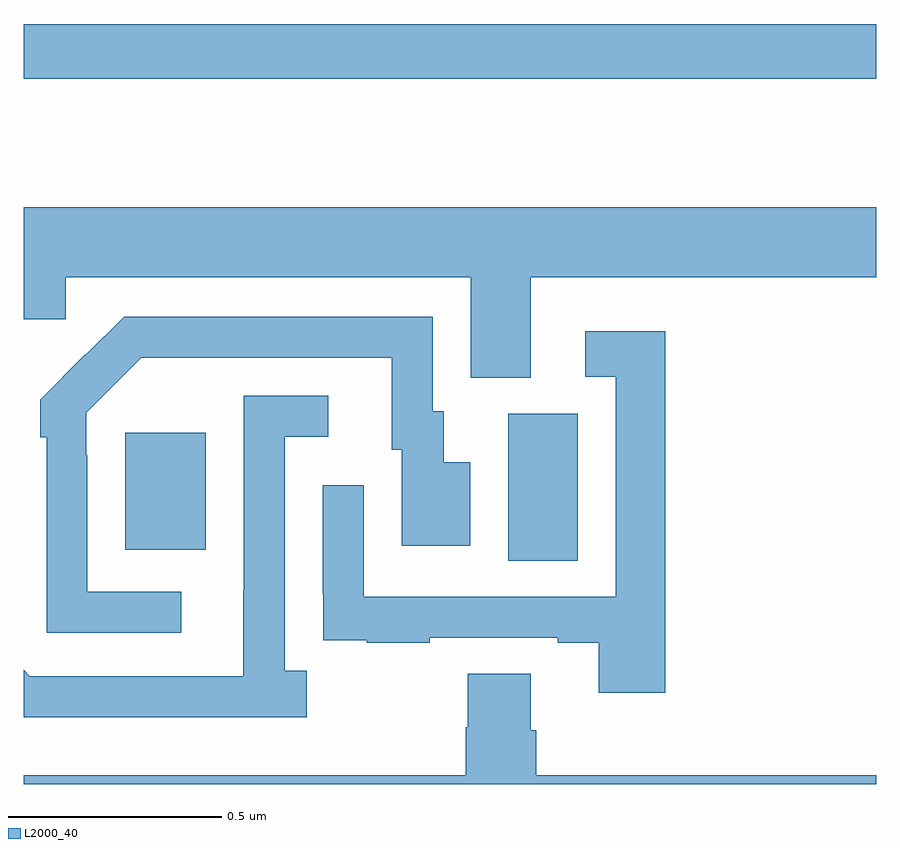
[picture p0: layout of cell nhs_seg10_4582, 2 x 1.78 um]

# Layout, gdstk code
import gdstk
lib = gdstk.Library(unit=1e-6, precision=1e-09)
def R(c, l, rs):  # rectangles x0, y0, x1, y1
    for r in rs: c.add(gdstk.rectangle(r[:2], r[2:], *l))
def P(c, l, *ps):  # polygons
    for p in ps: c.add(gdstk.Polygon(p, *l))
L2000_40 = (2000, 40)

nhs_seg10_4582 = lib.new_cell('nhs_seg10_4582')
R(nhs_seg10_4582, L2000_40, [(169.136,1261.024,169.3,1261.368), (168.239,1261.049,168.427,1261.324), (168,1262.154,170,1262.282)])
P(nhs_seg10_4582, L2000_40, [(169.189,1261.688),(170,1261.688),(170,1261.852),(168,1261.852),(168,1261.59),(168.099,1261.59),(168.099,1261.688),(169.049,1261.688),(169.049,1261.453),(169.189,1261.453)],
  [(168.37,1260.951),(168.15,1260.951),(168.15,1261.271),(168.147,1261.271),(168.147,1261.371),(168.276,1261.5),(168.863,1261.5),(168.863,1261.284),(168.887,1261.284),(168.887,1261.059),(169.048,1261.059),(169.048,1261.255),(168.985,1261.255),(168.985,1261.374),(168.96,1261.374),(168.96,1261.596),(168.236,1261.596),(168.145,1261.505),(168.144,1261.506),(168.039,1261.401),(168.039,1261.313),(168.054,1261.313),(168.054,1260.855),(168.37,1260.855)],
  [(169.505,1261.561),(169.317,1261.561),(169.317,1261.455),(169.389,1261.455),(169.389,1260.939),(168.798,1260.939),(168.798,1261.201),(168.702,1261.201),(168.702,1260.946),(168.703,1260.946),(168.703,1260.837),(168.805,1260.837),(168.805,1260.831),(168.953,1260.831),(168.953,1260.843),(169.253,1260.843),(169.253,1260.831),(169.349,1260.831),(169.349,1260.714),(169.505,1260.714)],
  [(168.664,1260.766),(168.612,1260.766),(168.612,1261.314),(168.715,1261.314),(168.715,1261.41),(168.516,1261.41),(168.516,1260.953),(168.515,1260.953),(168.515,1260.753),(168.015,1260.753),(168,1260.768),(168,1260.656),(168.664,1260.656)],
  [(170,1260.52),(169.202,1260.52),(169.202,1260.626),(169.189,1260.626),(169.189,1260.758),(169.042,1260.758),(169.042,1260.633),(169.037,1260.633),(169.037,1260.52),(168,1260.52),(168,1260.5),(170,1260.5)])

lib.write_gds('nhs_seg10_4582.gds')
